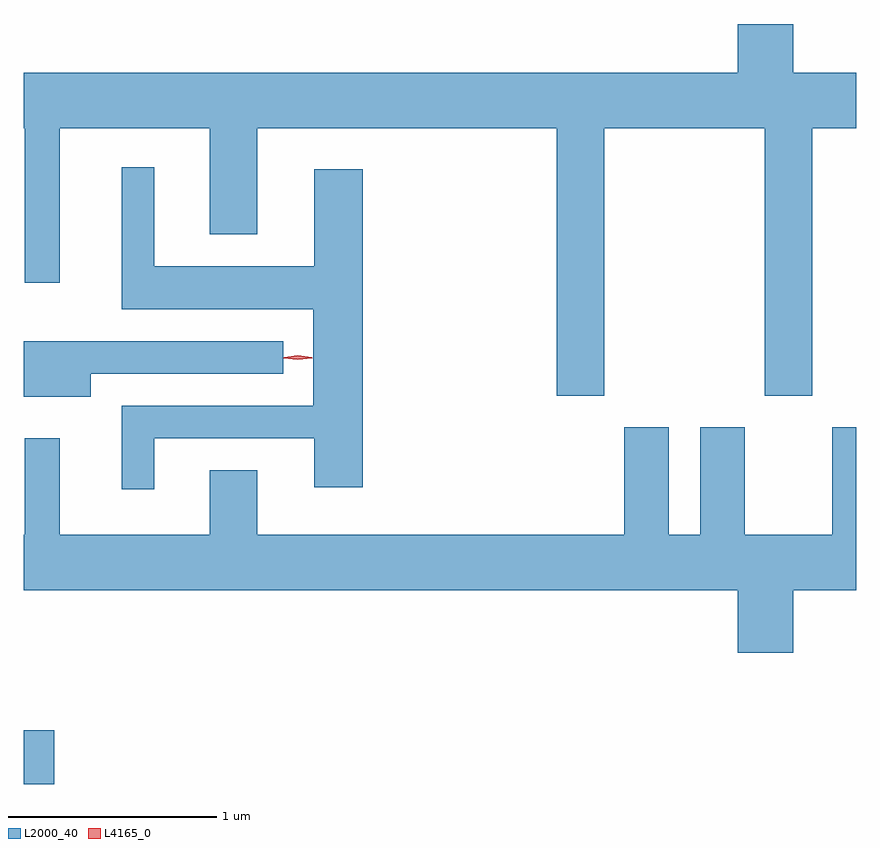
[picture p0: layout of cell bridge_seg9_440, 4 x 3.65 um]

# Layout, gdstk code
import gdstk
lib = gdstk.Library(unit=1e-6, precision=1e-09)
def R(c, l, rs):  # rectangles x0, y0, x1, y1
    for r in rs: c.add(gdstk.rectangle(r[:2], r[2:], *l))
def P(c, l, *ps):  # polygons
    for p in ps: c.add(gdstk.Polygon(p, *l))
L2000_40 = (2000, 40)
L4165_0 = (4165, 0)

bridge_seg9_440 = lib.new_cell('bridge_seg9_440')
R(bridge_seg9_440, L2000_40, [(351.506,2057.486,351.654,2057.744)])
P(bridge_seg9_440, L2000_40, [(354.294,2060.636),(355.066,2060.636),(355.066,2059.351),(355.294,2059.351),(355.294,2060.636),(355.506,2060.636),(355.506,2060.904),(355.204,2060.904),(355.204,2061.137),(354.936,2061.137),(354.936,2060.904),(351.506,2060.904),(351.506,2060.636),(351.511,2060.636),(351.511,2059.893),(351.679,2059.893),(351.679,2060.636),(352.401,2060.636),(352.401,2060.126),(352.629,2060.126),(352.629,2060.636),(354.066,2060.636),(354.066,2059.351),(354.294,2059.351)],
  [(352.134,2059.146),(352.901,2059.146),(352.901,2058.911),(353.134,2058.911),(353.134,2060.439),(352.901,2060.439),(352.901,2059.974),(352.134,2059.974),(352.134,2060.448),(351.976,2060.448),(351.976,2059.766),(352.896,2059.766),(352.896,2059.304),(351.976,2059.304),(351.976,2058.903),(352.134,2058.903)],
  [(351.829,2059.456),(352.753,2059.456),(352.753,2059.614),(351.506,2059.614),(351.506,2059.346),(351.829,2059.346)],
  [(355.204,2058.416),(355.506,2058.416),(355.506,2059.199),(355.391,2059.199),(355.391,2058.684),(354.969,2058.684),(354.969,2059.199),(354.756,2059.199),(354.756,2058.684),(354.604,2058.684),(354.604,2059.199),(354.391,2059.199),(354.391,2058.684),(352.629,2058.684),(352.629,2058.994),(352.401,2058.994),(352.401,2058.684),(351.679,2058.684),(351.679,2059.148),(351.511,2059.148),(351.511,2058.684),(351.506,2058.684),(351.506,2058.416),(354.936,2058.416),(354.936,2058.116),(355.204,2058.116)])
P(bridge_seg9_440, L4165_0, [(352.823,2059.523),(352.754,2059.532),(352.754,2059.533),(352.754,2059.533),(352.823,2059.543),(352.892,2059.533),(352.893,2059.533),(352.892,2059.532)],
  [(352.823,2059.525),(352.757,2059.534),(352.757,2059.535),(352.757,2059.535),(352.823,2059.545),(352.889,2059.535),(352.889,2059.535),(352.889,2059.534)])

lib.write_gds('bridge_seg9_440.gds')
